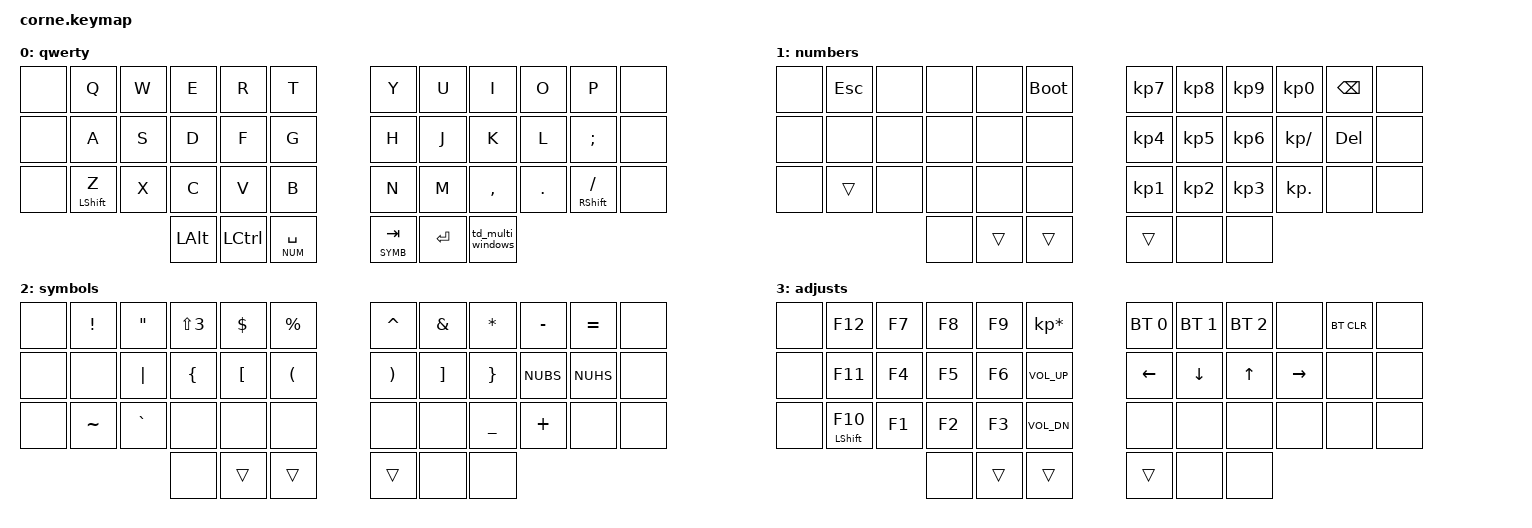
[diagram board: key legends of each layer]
/*
 * Copyright (c) 2020 The ZMK Contributors
 *
 * SPDX-License-Identifier: MIT
 */

#include <behaviors.dtsi>
#include <dt-bindings/zmk/keys.h>
#include <dt-bindings/zmk/bt.h>

// Layers
#define QWERTY 0
#define NUM 1
#define SYMB 2
#define ADJUST 3

#define XXXXX &none
#define _____ &trans

// Behavior Overrides
&lt {
    tapping-term-ms = <200>;
    flavor = "hold-preferred";
};


/ {

    conditional_layers {
        compatible = "zmk,conditional-layers";
        tri_layer {
            if-layers = <NUM SYMB>;
            then-layer = <ADJUST>;
        };
    };


    behaviors {

      td_multi_windows: tap_dance_multi_windows {
        compatible = "zmk,behavior-tap-dance";
        label = "TAP_DANCE_MULTI_WINDOWS";
        #binding-cells = <0>;
        tapping-term-ms = <200>;
        bindings = <&kp ESC>, <&kp LGUI>;
      };

      bm: bottom_row_mods {
        compatible = "zmk,behavior-hold-tap";
        label = "BOTTOM_ROW_MODS";
        #binding-cells = <2>;
        tapping-term-ms = <135>;
        quick-tap-ms = <0>;
        flavor = "tap-preferred";
        bindings = <&kp>, <&kp>;
      };

      cm: code_row_mods {
        compatible = "zmk,behavior-hold-tap";
        label = "CODE_ROW_MODS";
        #binding-cells = <2>;
        tapping-term-ms = <200>;
        quick-tap-ms = <0>;
        flavor = "tap-preferred";
        bindings = <&kp>, <&kp>;
        retro-tap;
      };

      sm: space_mod {
        compatible = "zmk,behavior-hold-tap";
        label = "SPACE_MOD";
        #binding-cells = <2>;
        flavor = "balanced";
        tapping-term-ms = <200>;
        quick-tap-ms = <125>;
        bindings = <&kp>, <&kp>;
      };
    };

        keymap {
                compatible = "zmk,keymap";

                qwerty {
// -----------------------------------------------------------------------------------------
// | - |  Q  |  W  |  E  |  R  |  T  |   |  Y  |  U   |  I  |  O  |  P  | - |
// | - |  A  |  S  |  D  |  F  |  G  |   |  H  |  J   |  K  |  L  |  ;  | - |
// | - |  Z  |  X  |  C  |  V  |  B  |   |  N  |  M   |  ,  |  .  |  /  | - |
//                    | ALT | CTRL | SPC |   | TAB | ENTR |wintap|
                        bindings = <
   XXXXX &kp Q       &kp W &kp E &kp R &kp T   &kp Y &kp U  &kp I     &kp O   &kp P          XXXXX
   XXXXX &kp A       &kp S &kp D &kp F &kp G   &kp H &kp J  &kp K     &kp L   &kp SEMI       XXXXX
   XXXXX &bm LSHFT Z &kp X &kp C &kp V &kp B   &kp N &kp M  &kp COMMA &kp DOT &bm RSHFT FSLH XXXXX
        &kp LALT &kp LCTRL &lt NUM SPACE           &lt SYMB TAB &kp ENTER &td_multi_windows
                        >;
                };

                numbers {
// -----------------------------------------------------------------------------------------
// | - | ESC  |xxxxxx|xxxxxx|xxxxxx|BOOTLD|   |  7  |  8  |  9  |  0  | BSPC | - |
// | - |xxxxxx|xxxxxx|xxxxxx|xxxxxx|xxxxxx|   |  4  |  5  |  6  |  /  | DEL  | - |
// | - |xxxxxx|^^^^^^|xxxxxx|xxxxxx|xxxxxx|   |  1  |  2  |  3  |  .  |xxxxxx| - |
//                   |xxxxxx| ^^^^ | ^^^^ |   | ^^^^ |xxxxxx|xxxxxx|
                        bindings = <
   XXXXX &kp ESC XXXXX XXXXX XXXXX &bootloader   &kp KP_N7 &kp KP_N8 &kp KP_N9 &kp KP_N0    &kp BSPC XXXXX
   XXXXX  XXXXX  XXXXX XXXXX XXXXX XXXXX         &kp KP_N4 &kp KP_N5 &kp KP_N6 &kp KP_SLASH &kp DEL  XXXXX
   XXXXX  _____  XXXXX XXXXX XXXXX XXXXX         &kp KP_N1 &kp KP_N2 &kp KP_N3 &kp KP_DOT   XXXXX    XXXXX
                          XXXXX  _____  _____    _____     XXXXX     XXXXX
                        >;
                };

                symbols {
// -----------------------------------------------------------------------------------------
// | - |  !  |  "  |  £  |  $  |  %  |   |  ^  |  &  |  *  |  -  |  =  | - |
// | - |     |  |  |  {  |  [  |  (  |   |  )  |  ]  |  }  |  \  |  #  | - |
// | - |  ~  |  `  |xxxxx|xxxxx|xxxxx|   |xxxxx|xxxxx|  _  |  +  |xxxxx| - |
//                 |xxxxx|^^^^^|^^^^^|   |^^^^^|xxxxx|xxxxx|
                        bindings = <
   XXXXX  &kp EXCL  &kp DQT   &kp LS(N3)  &kp DLLR   &kp PRCNT   &kp CARET &kp AMPS  &kp ASTRK      &kp MINUS &kp EQUAL XXXXX
   XXXXX  XXXXX     &kp PIPE  &kp LBRC    &kp LBKT   &kp LPAR    &kp RPAR  &kp RBKT  &kp RBRC       &kp NUBS  &kp NUHS  XXXXX
   XXXXX  &kp TILDE &kp GRAVE XXXXX       XXXXX      XXXXX       XXXXX     XXXXX     &kp UNDERSCORE &kp PLUS  XXXXX     XXXXX
                                       XXXXX _____   _____       _____   XXXXX    XXXXX
                        >;
                };
                adjusts {
// -----------------------------------------------------------------------------------------
// | - | F12 | F7  | F8  | F9  |  *  |   | BT0 | BT1 | BT2 |xxxxx|BTCLR| - |
// | - | F11 | F4  | F5  | F6  |VOL_U|   | LEFT| DOWN|  UP |RIGHT|xxxxx| - |
// | - | F10 | F1  | F2  | F3  |VOL_D|   |xxxxx|xxxxx|xxxxx|xxxxx|xxxxx| - |
//                |xxxxx|^^^^^|^^^^^^|   |^^^^^|xxxxx|xxxxx|
                        bindings = <
   XXXXX  &kp F12       &kp F7 &kp F8 &kp F9 &kp KP_ASTERISK   &bt BT_SEL 0 &bt BT_SEL 1 &bt BT_SEL 2 XXXXX     &bt BT_CLR XXXXX
   XXXXX  &kp F11       &kp F4 &kp F5 &kp F6 &kp C_VOL_UP      &kp LEFT     &kp DOWN     &kp UP       &kp RIGHT XXXXX      XXXXX
   XXXXX  &bm LSHFT F10 &kp F1 &kp F2 &kp F3 &kp C_VOL_DN     XXXXX XXXXX XXXXX XXXXX XXXXX XXXXX
                             XXXXX _____   _____   _____   XXXXX XXXXX
                        >;
                };
        };
};
